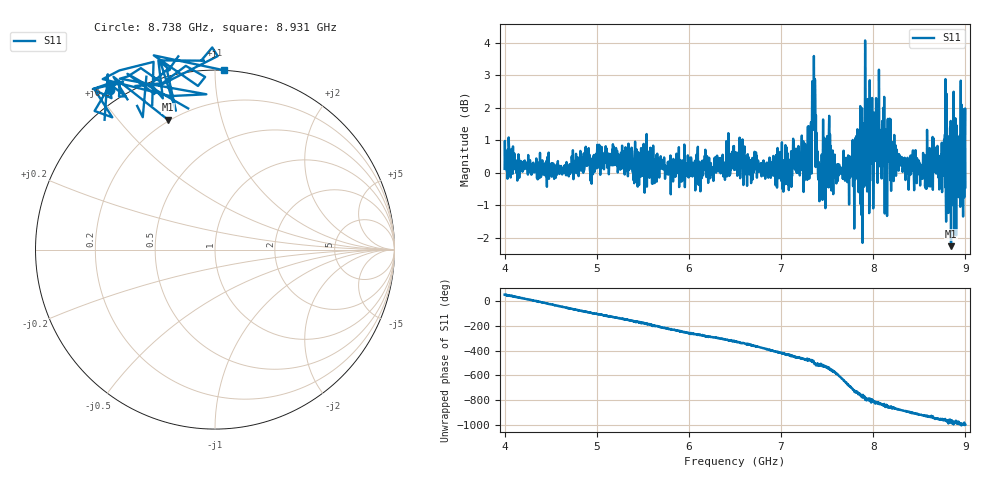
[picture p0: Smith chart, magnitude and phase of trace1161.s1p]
! Created with skrf 1.8.0 (http://scikit-rf.org).
# Hz S RI R 50.0
!freq ReS11 ImS11
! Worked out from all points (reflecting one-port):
!   1601 points, 4 GHz to 9 GHz, reference 50 ohm
!   lowest |S11| = -2.3 dB at 8.844 GHz (marker M1), VSWR 7.71, Z = 9.59 + j34.2 ohm
!   phase of S11 starts at 51 deg and turns -1047 deg over the sweep
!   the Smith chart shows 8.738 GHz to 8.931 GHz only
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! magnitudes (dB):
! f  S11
! 4 GHz  0.1
! 4.625 GHz  -0.1
! 4.897 GHz  0.2
! 5.25 GHz  0.2
! 5.875 GHz  0.2
! 6.5 GHz  0.4
! 7.125 GHz  0.5
! 7.294 GHz  0.1
! 7.359 GHz  2.2
! 7.4 GHz  0.0
! 7.425 GHz  0.2
! 7.512 GHz  0.7
! 7.566 GHz  -0.7
! 7.75 GHz  -0.1
! 7.834 GHz  0.9
! 7.878 GHz  2.0
! 7.928 GHz  1.6
! 7.981 GHz  0.6
! 8.088 GHz  0.4
! 8.128 GHz  1.0
! 8.375 GHz  0.1
! 8.656 GHz  0.2
! 8.725 GHz  0.0
! 8.759 GHz  0.1
! 8.844 GHz  -2.3
! 8.919 GHz  0.3
! 8.972 GHz  0.2
! 9 GHz  -0.5
